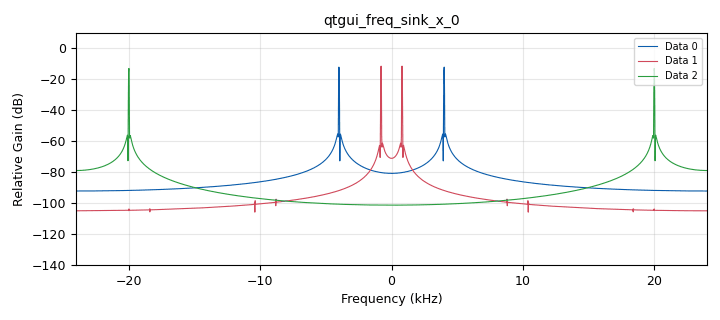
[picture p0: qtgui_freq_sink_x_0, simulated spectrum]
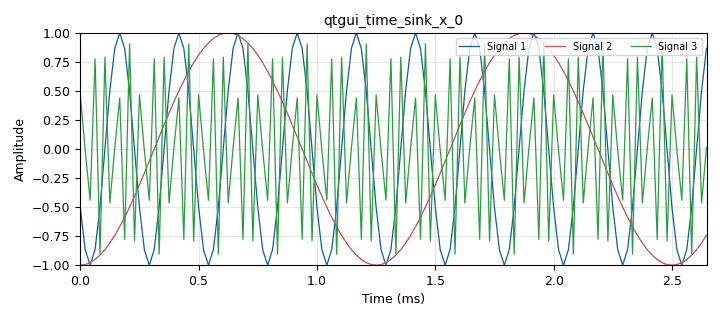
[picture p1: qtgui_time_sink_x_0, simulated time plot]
options:
  parameters:
    author: Eliana_Gonzalez_Kevin_Bautista_B1B_G2
    generate_options: qt_gui
    id: lab1_punto3
    output_language: python
    title: lab1_punto3_interpolado
  states: {}

blocks:
- name: samp_rate
  id: variable
  parameters:
    value: '48000'
  states: {}
- name: Die
  id: analog_sig_source_x
  parameters:
    amp: '1'
    freq: '4000'
    offset: '0'
    phase: '0'
    samp_rate: samp_rate
    type: float
    waveform: analog.GR_COS_WAVE
  states: {}
- name: Int
  id: analog_sig_source_x
  parameters:
    amp: '1'
    freq: '4000'
    offset: '0'
    phase: '0'
    samp_rate: samp_rate
    type: float
    waveform: analog.GR_COS_WAVE
  states: {}
- name: blocks_throttle_0
  id: blocks_throttle
  parameters:
    samples_per_second: samp_rate
    type: float
  states: {}
- name: original
  id: analog_sig_source_x
  parameters:
    amp: '1'
    freq: '4000'
    offset: '0'
    phase: '0'
    samp_rate: samp_rate
    type: float
    waveform: analog.GR_COS_WAVE
  states: {}
- name: qtgui_freq_sink_x_0
  id: qtgui_freq_sink_x
  parameters:
    bw: samp_rate
    fc: '0'
    fftsize: '2048'
    nconnections: '3'
    type: float
    wintype: window.WIN_HAMMING
  states: {}
- name: qtgui_time_sink_x_0
  id: qtgui_time_sink_x
  parameters:
    nconnections: '3'
    size: '128'
    srate: samp_rate
    type: float
  states: {}
- name: rational_resampler_xxx_0
  id: rational_resampler_xxx
  parameters:
    decim: '1'
    interp: '1'
    type: fff
  states: {}
- name: rational_resampler_xxx_0_1
  id: rational_resampler_xxx
  parameters:
    decim: '1'
    interp: '5'
    type: fff
  states: {}
- name: rational_resampler_xxx_0_2
  id: rational_resampler_xxx
  parameters:
    decim: '5'
    interp: '1'
    type: fff
  states: {}

connections:
- [Die, '0', rational_resampler_xxx_0_2, '0']
- [Int, '0', rational_resampler_xxx_0_1, '0']
- [blocks_throttle_0, '0', qtgui_freq_sink_x_0, '0']
- [blocks_throttle_0, '0', qtgui_time_sink_x_0, '0']
- [original, '0', rational_resampler_xxx_0, '0']
- [rational_resampler_xxx_0, '0', blocks_throttle_0, '0']
- [rational_resampler_xxx_0_1, '0', qtgui_freq_sink_x_0, '1']
- [rational_resampler_xxx_0_1, '0', qtgui_time_sink_x_0, '1']
- [rational_resampler_xxx_0_2, '0', qtgui_freq_sink_x_0, '2']
- [rational_resampler_xxx_0_2, '0', qtgui_time_sink_x_0, '2']

metadata:
  file_format: 1
  grc_version: 3.10.5.1
